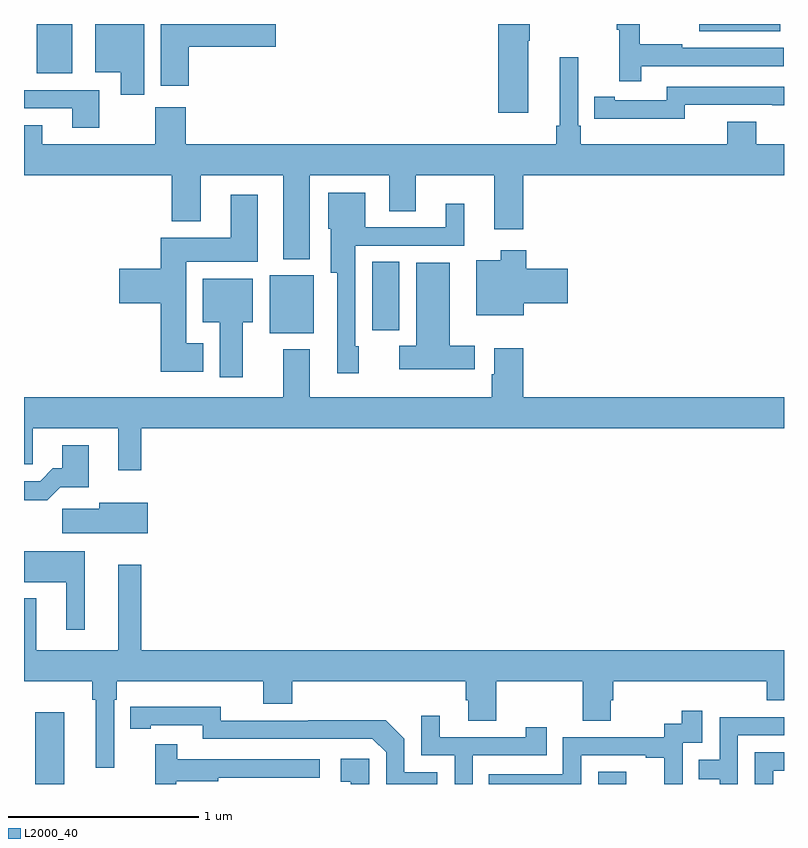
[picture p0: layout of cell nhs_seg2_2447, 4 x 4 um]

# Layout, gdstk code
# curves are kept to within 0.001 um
import gdstk
lib = gdstk.Library(unit=1e-6, precision=1e-09)
def R(c, l, rs):  # rectangles x0, y0, x1, y1
    for r in rs: c.add(gdstk.rectangle(r[:2], r[2:], *l))
def P(c, l, *ps):  # polygons
    for p in ps: c.add(gdstk.Polygon(p, *l))
L2000_40 = (2000, 40)

nhs_seg2_2447 = lib.new_cell('nhs_seg2_2447')
R(nhs_seg2_2447, L2000_40, [(239.059,609.8,239.212,610.177), (242.022,609.8,242.17,609.865), (240.293,612.173,240.526,612.478), (240.833,612.187,240.976,612.548), (239.066,613.541,239.254,613.8), (242.553,613.763,242.98,613.8)])
P(nhs_seg2_2447, L2000_40, [(241.654,613.711),(241.662,613.711),(241.662,613.8),(241.496,613.8),(241.496,613.332),(241.654,613.332)],
  [(242.249,613.578),(242.998,613.578),(242.998,613.674),(242.465,613.674),(242.465,613.694),(242.242,613.694),(242.242,613.8),(242.121,613.8),(242.121,613.771),(242.132,613.771),(242.132,613.5),(242.249,613.5)],
  [(239.632,613.8),(239.375,613.8),(239.375,613.547),(239.51,613.547),(239.51,613.428),(239.632,613.428)],
  [(239.867,613.679),(240.325,613.679),(240.325,613.8),(239.72,613.8),(239.72,613.476),(239.867,613.476)],
  [(240.505,613.004),(240.923,613.004),(240.923,612.814),(241.063,612.814),(241.063,613.004),(241.475,613.004),(241.475,612.72),(241.628,612.72),(241.628,613.004),(243,613.004),(243,613.168),(242.855,613.168),(242.855,613.285),(242.702,613.285),(242.702,613.168),(241.931,613.168),(241.931,613.264),(241.917,613.264),(241.917,613.624),(241.82,613.624),(241.82,613.264),(241.801,613.264),(241.801,613.168),(239.852,613.168),(239.852,613.363),(239.692,613.363),(239.692,613.168),(239.095,613.168),(239.095,613.267),(239,613.267),(239,613.004),(239.777,613.004),(239.777,612.761),(239.929,612.761),(239.929,613.004),(240.365,613.004),(240.365,612.563),(240.505,612.563)],
  [(242.478,613.374),(242.938,613.374),(242.938,613.373),(243,613.373),(243,613.47),(242.382,613.47),(242.382,613.398),(242.11,613.398),(242.11,613.418),(242.002,613.418),(242.002,613.302),(242.11,613.302),(242.11,613.301),(242.478,613.301)],
  [(239.395,613.452),(239,613.452),(239,613.356),(239.255,613.356),(239.255,613.254),(239.395,613.254)],
  [(240.763,612.105),(240.744,612.105),(240.744,612.633),(241.318,612.633),(241.318,612.853),(241.22,612.853),(241.22,612.729),(240.796,612.729),(240.796,612.913),(240.602,612.913),(240.602,612.723),(240.614,612.723),(240.614,612.491),(240.648,612.491),(240.648,611.961),(240.763,611.961)],
  [(239.944,612.121),(239.854,612.121),(239.854,612.548),(240.229,612.548),(240.229,612.901),(240.089,612.901),(240.089,612.676),(239.72,612.676),(239.72,612.512),(239.502,612.512),(239.502,612.329),(239.72,612.329),(239.72,611.969),(239.944,611.969)],
  [(241.63,612.329),(241.861,612.329),(241.861,612.512),(241.643,612.512),(241.643,612.61),(241.508,612.61),(241.508,612.556),(241.379,612.556),(241.379,612.266),(241.63,612.266)],
  [(241.372,612.106),(241.24,612.106),(241.24,612.544),(241.064,612.544),(241.064,612.106),(240.976,612.106),(240.976,611.984),(241.372,611.984)],
  [(240.151,612.23),(240.205,612.23),(240.205,612.46),(239.942,612.46),(239.942,612.23),(240.029,612.23),(240.029,611.94),(240.151,611.94)],
  [(239.617,611.672),(243,611.672),(243,611.836),(241.628,611.836),(241.628,612.094),(241.475,612.094),(241.475,611.957),(241.463,611.957),(241.463,611.836),(240.505,611.836),(240.505,612.088),(240.365,612.088),(240.365,611.836),(239,611.836),(239,611.482),(239.046,611.482),(239.046,611.672),(239.495,611.672),(239.495,611.451),(239.617,611.451)],
  [(239.192,611.363),(239.341,611.363),(239.341,611.584),(239.201,611.584),(239.201,611.461),(239.152,611.461),(239.085,611.394),(239,611.394),(239,611.294),(239.123,611.294)],
  [(239.65,611.281),(239.396,611.281),(239.396,611.249),(239.202,611.249),(239.202,611.12),(239.65,611.12)],
  [(239.32,611.026),(239,611.026),(239,610.862),(239.222,610.862),(239.222,610.611),(239.32,610.611)],
  [(239.475,610.244),(239.489,610.244),(239.489,610.34),(240.26,610.34),(240.26,610.223),(240.413,610.223),(240.413,610.34),(241.325,610.34),(241.325,610.242),(241.337,610.242),(241.337,610.132),(241.485,610.132),(241.485,610.34),(241.942,610.34),(241.942,610.132),(242.089,610.132),(242.089,610.242),(242.102,610.242),(242.102,610.34),(242.909,610.34),(242.909,610.241),(243,610.241),(243,610.504),(239.617,610.504),(239.617,610.954),(239.495,610.954),(239.495,610.504),(239.065,610.504),(239.065,610.777),(239,610.777),(239,610.34),(239.359,610.34),(239.359,610.244),(239.378,610.244),(239.378,609.885),(239.475,609.885)],
  [(241.176,609.861),(241.002,609.861),(241.002,610.038),(240.904,610.136),(240.496,610.136),(240.496,610.134),(240.036,610.134),(240.036,610.207),(239.56,610.206),(239.56,610.09),(239.668,610.09),(239.668,610.11),(239.94,610.11),(239.94,610.038),(240.834,610.038),(240.906,609.966),(240.906,609.8),(241.176,609.8)],
  [(241.932,609.951),(242.273,609.951),(242.273,609.939),(242.369,609.939),(242.369,609.8),(242.466,609.8),(242.466,610.017),(242.571,610.017),(242.571,610.186),(242.463,610.186),(242.463,610.116),(242.37,610.116),(242.37,610.047),(241.836,610.047),(241.836,609.852),(241.447,609.852),(241.447,609.8),(241.932,609.8)],
  [(241.362,609.951),(241.751,609.951),(241.751,610.099),(241.64,610.099),(241.64,610.047),(241.189,610.047),(241.189,610.159),(241.092,610.159),(241.092,609.951),(241.266,609.951),(241.266,609.8),(241.362,609.8)],
  [(242.757,610.056),(243,610.056),(243,610.152),(242.661,610.152),(242.661,609.927),(242.551,609.927),(242.551,609.826),(242.661,609.826),(242.661,609.8),(242.757,609.8)],
  [(239.8,609.814),(240.023,609.814),(240.023,609.834),(240.556,609.834),(240.556,609.93),(239.807,609.93),(239.807,610.009),(239.69,610.009),(239.69,609.8),(239.8,609.8)],
  [(242.943,609.87),(243,609.87),(243,609.966),(242.847,609.966),(242.847,609.8),(242.943,609.8)],
  [(240.816,609.934),(240.666,609.934),(240.666,609.813),(240.719,609.813),(240.719,609.8),(240.816,609.8)])

lib.write_gds('nhs_seg2_2447.gds')
